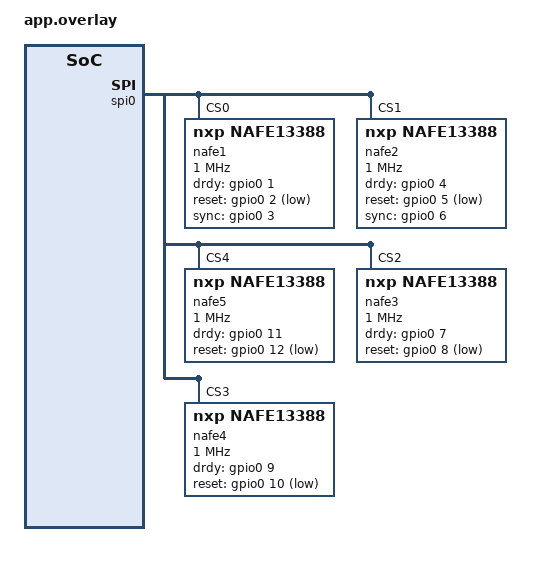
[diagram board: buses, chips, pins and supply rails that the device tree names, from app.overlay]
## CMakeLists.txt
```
# Copyright 2026 NXP
# SPDX-License-Identifier: Apache-2.0

cmake_minimum_required(VERSION 3.20.0)
find_package(Zephyr REQUIRED HINTS $ENV{ZEPHYR_BASE})
project(adc_nafe13388)

FILE(GLOB app_sources src/*.c)
target_sources(app PRIVATE ${app_sources})
```

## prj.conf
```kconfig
# Copyright 2026 NXP
# SPDX-License-Identifier: Apache-2.0

CONFIG_ZTEST=y
CONFIG_EMUL=y
CONFIG_SPI=y
CONFIG_GPIO=y
CONFIG_ADC=y
CONFIG_THREAD_NAME=y
CONFIG_THREAD_MONITOR=y

# Short timeouts so that the timeout tests are fast. native_sim has a tick of 10 ms,
# so a sleep of 1 ms in a test lasts 10 ms; both timeouts have to be a few ticks. The wait
# for CHIP_READY is a deadline in milliseconds, not a number of polls, so with 100 ms the
# driver polls about 10 times on native_sim.
CONFIG_ADC_NAFE13388_DRDY_TIMEOUT_MS=50
CONFIG_ADC_NAFE13388_CHIP_READY_TIMEOUT_MS=100
```

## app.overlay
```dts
/*
 * Copyright 2026 NXP
 *
 * SPDX-License-Identifier: Apache-2.0
 */

#include <zephyr/dt-bindings/adc/adc.h>
#include <zephyr/dt-bindings/adc/nafe13388.h>

/*
 * Four devices on the SPI emulation bus. nafe1 is initialised at boot and used
 * by most tests. The deferred ones are initialised by the init tests, once each,
 * to check the init sequence and its error paths.
 */
&spi0 {
	nafe1: nafe13388@0 {
		compatible = "nxp,nafe13388";
		reg = <0>;
		nxp,dev-addr = <1>;
		spi-max-frequency = <1000000>;
		drdy-gpios = <&gpio0 1 GPIO_ACTIVE_HIGH>;
		reset-gpios = <&gpio0 2 GPIO_ACTIVE_LOW>;
		sync-gpios = <&gpio0 3 GPIO_ACTIVE_HIGH>;
		#address-cells = <1>;
		#size-cells = <0>;
		#io-channel-cells = <1>;

		channel@0 {
			reg = <0>;
			zephyr,gain = "ADC_GAIN_1";
			zephyr,reference = "ADC_REF_INTERNAL";
			zephyr,acquisition-time = <ADC_ACQ_TIME_DEFAULT>;
			zephyr,resolution = <24>;
			zephyr,differential;
			zephyr,input-positive = <NAFE13388_HV_AI1>;
			zephyr,input-negative = <NAFE13388_HV_AICOM>;
		};

		channel@1 {
			reg = <1>;
			zephyr,gain = "ADC_GAIN_1";
			zephyr,reference = "ADC_REF_INTERNAL";
			zephyr,acquisition-time = <ADC_ACQ_TIME_DEFAULT>;
			zephyr,resolution = <16>;
			zephyr,differential;
			zephyr,input-positive = <NAFE13388_HV_AI2>;
			zephyr,input-negative = <NAFE13388_HV_AICOM>;
		};
	};

	nafe2: nafe13388@1 {
		compatible = "nxp,nafe13388";
		reg = <1>;
		spi-max-frequency = <1000000>;
		zephyr,deferred-init;
		nxp,dev-addr = <0>;
		nxp,clock-source = <NAFE13388_CLK_EXTERNAL>;
		nxp,reference-select = <2>;
		nxp,drdy-wide-pulse;
		drdy-gpios = <&gpio0 4 GPIO_ACTIVE_HIGH>;
		reset-gpios = <&gpio0 5 GPIO_ACTIVE_LOW>;
		sync-gpios = <&gpio0 6 GPIO_ACTIVE_HIGH>;
		#address-cells = <1>;
		#size-cells = <0>;
		#io-channel-cells = <1>;

		channel@3 {
			reg = <3>;
			zephyr,gain = "ADC_GAIN_2";
			zephyr,reference = "ADC_REF_INTERNAL";
			zephyr,acquisition-time = <ADC_ACQ_TIME(ADC_ACQ_TIME_TICKS, 7)>;
			zephyr,resolution = <24>;
			zephyr,differential;
			zephyr,input-positive = <NAFE13388_HV_AI2>;
			zephyr,input-negative = <NAFE13388_HV_AI3>;
		};
	};

	/* Initialised at boot, no sync-gpios, no channels, nxp,dev-addr left at the default */
	nafe5: nafe13388@4 {
		compatible = "nxp,nafe13388";
		reg = <4>;
		spi-max-frequency = <1000000>;
		drdy-gpios = <&gpio0 11 GPIO_ACTIVE_HIGH>;
		reset-gpios = <&gpio0 12 GPIO_ACTIVE_LOW>;
		#address-cells = <1>;
		#size-cells = <0>;
		#io-channel-cells = <1>;
	};

	nafe3: nafe13388@2 {
		compatible = "nxp,nafe13388";
		reg = <2>;
		nxp,dev-addr = <1>;
		spi-max-frequency = <1000000>;
		zephyr,deferred-init;
		drdy-gpios = <&gpio0 7 GPIO_ACTIVE_HIGH>;
		reset-gpios = <&gpio0 8 GPIO_ACTIVE_LOW>;
		#address-cells = <1>;
		#size-cells = <0>;
		#io-channel-cells = <1>;
	};

	nafe4: nafe13388@3 {
		compatible = "nxp,nafe13388";
		reg = <3>;
		nxp,dev-addr = <1>;
		spi-max-frequency = <1000000>;
		zephyr,deferred-init;
		drdy-gpios = <&gpio0 9 GPIO_ACTIVE_HIGH>;
		reset-gpios = <&gpio0 10 GPIO_ACTIVE_LOW>;
		#address-cells = <1>;
		#size-cells = <0>;
		#io-channel-cells = <1>;
	};
};
```

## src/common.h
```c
/*
 * Copyright 2026 NXP
 *
 * SPDX-License-Identifier: Apache-2.0
 */

#ifndef ZEPHYR_TESTS_DRIVERS_ADC_NAFE13388_COMMON_H_
#define ZEPHYR_TESTS_DRIVERS_ADC_NAFE13388_COMMON_H_

#include <zephyr/device.h>
#include <zephyr/dt-bindings/adc/nafe13388.h>
#include <zephyr/drivers/adc.h>
#include <zephyr/drivers/adc/nafe13388.h>
#include <zephyr/ztest.h>

#include "nafe13388_emul.h"

#define NAFE1 DEVICE_DT_GET(DT_NODELABEL(nafe1))
#define NAFE5 DEVICE_DT_GET(DT_NODELABEL(nafe5)) /* has no sync-gpios */
#define E1    NAFE_EMUL(nafe1)
#define D1    ((struct nafe_emul_data *)E1->data)

/* Frame number idx of the log must hold exactly these transmitted bytes */
#define ZASSERT_FRAME(e, idx, ...)                                                                 \
	do {                                                                                       \
		static const uint8_t exp_[] = {__VA_ARGS__};                                       \
		zassert_true(nafe_emul_frame_is(e, idx, exp_, sizeof(exp_)), "frame %d", (idx));   \
	} while (0)

/*
 * Bring the emulator and the driver of nafe1 into the state after the init
 * (devicetree channels only): defaults, CMD_RESET through the driver, empty log.
 */
static inline void nafe_before(void *unused)
{
	ARG_UNUSED(unused);

	/* A failed test may have left the device taken, give it back first */
	(void)nafe13388_continuous_stop(NAFE1, NAFE13388_STOP_ABORT);
	(void)nafe13388_stop(NAFE1, NAFE13388_STOP_IDLE);

	nafe_emul_defaults(E1);
	zassert_ok(nafe13388_command(NAFE1, NAFE13388_RESET));
	nafe_emul_clear_log(E1);
}

/* adc_read() of the channels, 24 or 16 bit, into buf */
static inline int nafe_read(uint32_t channels, uint8_t resolution, void *buf, size_t size,
			    const struct adc_sequence_options *opts)
{
	const struct adc_sequence seq = {
		.options = opts,
		.channels = channels,
		.buffer = buf,
		.buffer_size = size,
		.resolution = resolution,
	};

	return adc_read(NAFE1, &seq);
}

static inline struct nafe13388_seq nafe_seq(uint16_t channels, enum nafe13388_mode mode,
					    uint8_t resolution)
{
	struct nafe13388_seq seq = {
		.channels = channels,
		.mode = mode,
		.resolution = resolution,
	};

	return seq;
}

/* The device is free: stop() has nothing to stop and sends no frame */
#define ZASSERT_IDLE()                                                                             \
	zassert_equal(nafe13388_stop(NAFE1, NAFE13388_STOP_IDLE), -EALREADY, "device is taken")

/*
 * Let the acquisition thread of the driver run until it waits for DRDY. The test
 * thread is cooperative, so the driver thread runs only while the test thread sleeps
 * or waits. A DRDY pulse sent before the thread waits would count as a late one.
 * One sleep lasts up to one tick (10 ms on native_sim), see the DRDY timeout in
 * prj.conf.
 */
#define NAFE_SETTLE() k_msleep(1)

/* Wait until a continuous reading has ended and the device is free again */
static inline void nafe_wait_idle(void)
{
	for (int i = 0; i < 100; i++) {
		if (nafe13388_stop(NAFE1, NAFE13388_STOP_IDLE) == -EALREADY) {
			return;
		}
		k_msleep(1);
	}

	zassert_unreachable("the device is still taken");
}

/* No protocol error of the driver may have been seen by the emulator */
static inline void nafe_after(void *unused)
{
	ARG_UNUSED(unused);

	zassert_equal(D1->errors, 0, "the emulator saw %u protocol errors", D1->errors);
}

#endif /* ZEPHYR_TESTS_DRIVERS_ADC_NAFE13388_COMMON_H_ */
```

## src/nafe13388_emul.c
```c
/*
 * Copyright 2026 NXP
 *
 * SPDX-License-Identifier: Apache-2.0
 */

/*
 * Emulator of the NXP NAFE13388 analog front-end, see nafe13388_emul.h.
 *
 * Written from the data sheet (Rev. 5.0) and independent of the driver. Where
 * the data sheet does not settle the behaviour of the chip, the emulator makes
 * an ASSUMPTION. These are the assumptions (a passing test only proves that the
 * driver agrees with them, not that the chip behaves like this):
 *  - A command word is DEV_AD (bit 15), a 14 bit field (RW_L and 13 address
 *    bits) and bit 0 = 0. Fields with RW_L = 1 and an address of 0x00..0x05 are
 *    the conversion commands (Table 25), the others are register reads.
 *  - The chip accepts nothing but SYS_STATUS0 reads and CMD_RESET while
 *    CHIP_READY is 0 (the data sheet only says CHIP_READY is high when the chip
 *    is operational). CHIP_READY also drops after CMD_CLEAR_REG and CMD_RELOAD
 *    (the data sheet only says so for CMD_RELOAD).
 *  - After a reset the first SYS_STATUS0 reads can return 0xffff (reset_ones, default 0).
 *    Whether this is a not yet ready chip or a stuck bus is not known. A frame other
 *    than a SYS_STATUS0 read is refused while these reads are left.
 *  - CMD_SS and CMD_SC convert the channel selected by CMD_CHn, CMD_MM and
 *    CMD_MC convert the channels of CH_CONFIG4 (MCH_EN) in index order.
 *  - CMD_MS converts the channel at an internal pointer, which CMD_CHn sets
 *    (the next enabled channel if that one is not enabled) and which moves to
 *    the next channel after every conversion. DRDY follows SYS_CONFIG0.DRDY_PIN_EDGE
 *    (data sheet Figure 28): 0 = a DRDY after every CMD_MS, 1 = a DRDY only after
 *    the last enabled channel.
 *  - CMD_END lets the running continuous mode finish: SYS_STATUS0 shows the active bit for
 *    end_busy_reads more reads (default 0). CMD_ABORT clears it at once. How long the
 *    real chip needs is not known.
 *  - CMD_SC and CMD_MC only select the mode, the test calls nafe_emul_tick()
 *    for every conversion round. CMD_END stops without another DRDY.
 *  - A CH_DATAn register can be read with a 4 byte frame; it returns the upper 16 bit of the
 *    24 bit code in both output modes (the data sheet does not say it). A 5 byte frame
 *    always returns the 24 bit code, also in the 16 bit mode.
 *  - CMD_BURST_DATA returns the enabled channels in index order, 3 bytes each,
 *    or 2 bytes each (the upper 16 bit of the 24 bit code) with
 *    ADC_DATA_OUT_16BIT. CH_DATAn itself always holds the 24 bit code.
 *  - With ADC_SYNC = 1 a conversion command only arms the mode and the rising
 *    edge of the SYNC pin starts it.
 *  - Data registers (CH_DATAn) are left alone by CMD_RESET, RSTB, CMD_CLEAR_REG and
 *    CMD_RELOAD. CMD_RESET, RSTB and CMD_CLEAR_REG clear the thresholds
 *    (0x50..0x6F, an assumption); CMD_CLEAR_REG also sets
 *    the gain coefficients (0x80..0x8F) to 0x400000, CMD_RESET, RSTB and CMD_RELOAD
 *    load the factory value 0x404808 (an assumption). CMD_CLEAR_REG keeps CK_SRC_SEL.
 *  - CRC and the status byte are not emulated; enabling them is an error.
 *  - A write to CH_CONFIG0 with HV_SEL = 0 must carry HV_AIP = HV_AIN = 9 + LVSIG_IN
 *    (Table 6), else it is an error.
 */

#define DT_DRV_COMPAT nxp_nafe13388

#include <errno.h>
#include <limits.h>
#include <string.h>

#include <zephyr/device.h>
#include <zephyr/drivers/emul.h>
#include <zephyr/drivers/gpio.h>
#include <zephyr/drivers/gpio/gpio_emul.h>
#include <zephyr/drivers/spi.h>
#include <zephyr/drivers/spi_emul.h>
#include <zephyr/kernel.h>
#include <zephyr/sys/byteorder.h>
#include <zephyr/sys/printk.h>
#include <zephyr/sys/util.h>

#include "nafe13388_emul.h"

struct nafe_emul_cfg {
	struct gpio_dt_spec drdy;
	struct gpio_dt_spec reset;
	struct gpio_dt_spec sync;
	uint8_t dev_addr;
};

/* Reading modes, in the order of the command codes 0x2000..0x2004 */
enum nafe_emul_mode {
	MODE_SS,
	MODE_SC,
	MODE_MM,
	MODE_MC,
	MODE_MS,
};

/* Instruction commands (Tables 23 to 25) */
#define CMD_ABORT       0x10U
#define CMD_END         0x11U
#define CMD_CLEAR_ALARM 0x12U
#define CMD_CLEAR_DATA  0x13U
#define CMD_RESET       0x14U
#define CMD_CLEAR_REG   0x15U
#define CMD_RELOAD      0x16U
#define CMD_BURST_DATA  0x05U /* with RW_L = 1, like CMD_SS = 0x00 ... CMD_MS = 0x04 */

/* Registers */
#define REG_CH_CONFIG0             0x20U
#define REG_CH_CONFIG4             0x24U
#define REG_SYS_CONFIG0            0x30U
#define REG_SYS_STATUS0            0x31U
#define REG_GLOBAL_ALARM_INTERRUPT 0x33U
#define REG_PN2                    0x7CU
#define REG_PN1                    0x7DU
#define REG_PN0                    0x7EU
#define REG_CH_DATA0               0x40U
#define REG_SERIAL1                0xAEU
#define REG_SERIAL0                0xAFU

#define SYS_CONFIG0_16BIT     BIT(14)
#define SYS_CONFIG0_CK_SRC    GENMASK(9, 8)
#define SYS_CONFIG0_CRC_EN    BIT(7)
#define SYS_CONFIG0_STATUS_EN BIT(6)
#define SYS_CONFIG0_ADC_SYNC  BIT(5)
#define SYS_CONFIG0_DRDY_EDGE BIT(4)
#define CH_CONFIG0_HV_SEL     BIT(4)

#define SYS_STATUS0_SINGLE_ACTIVE BIT(15)
#define SYS_STATUS0_MULTI_ACTIVE  BIT(14)
#define SYS_STATUS0_CHIP_READY    BIT(13)

static int nafe_emul_bad(struct nafe_emul_data *d, const char *msg)
{
	d->errors++;
	printk("nafe13388_emul: protocol error: %s\n", msg);

	return -EIO;
}

static bool reg16_valid(unsigned int a)
{
	return (a >= 0x20U && a <= 0x37U && a != 0x28U) || (a >= 0x7CU && a <= 0x7FU);
}

static bool reg24_valid(unsigned int a)
{
	return (a >= 0x40U && a <= 0x6FU) || (a >= 0x80U && a <= 0xAFU);
}

#define REG_THRS_FIRST 0x50U
#define REG_THRS_LAST  0x6FU
#define REG_GAIN_COEF0 0x80U
#define GAIN_COEFS     16U
#define GAIN_FACTORY   0x404808U
#define GAIN_CLEARED   0x400000U

static void nafe_emul_load_coefs(struct nafe_emul_data *d, uint32_t val)
{
	for (unsigned int i = 0; i < GAIN_COEFS; i++) {
		d->reg24[REG_GAIN_COEF0 + i] = val;
	}
}

static void nafe_emul_chip_reset(struct nafe_emul_data *d)
{
	for (unsigned int a = REG_THRS_FIRST; a <= REG_THRS_LAST; a++) {
		d->reg24[a] = 0;
	}
	nafe_emul_load_coefs(d, GAIN_FACTORY);
	memset(d->ch, 0, sizeof(d->ch));
	memset(d->reg16, 0, sizeof(d->reg16));
	d->mch_en = 0;
	d->sys_config0 = 0;
	d->cfg_ptr = 0;
	d->ms_next = 0;
	d->ms_last = 0;
	d->cont_mode = -1;
	d->end_mode = -1;
	d->end_reads = 0;
	d->sync_armed = false;
	d->not_ready_reads = (d->reset_not_ready < 0) ? INT_MAX : d->reset_not_ready;
	d->ones_reads = (d->reset_ones < 0) ? INT_MAX : d->reset_ones;
}

static void nafe_emul_log_frame(struct nafe_emul_data *d, const uint8_t *tx, size_t len)
{
	if (d->n_frames < NAFE_EMUL_LOG_DEPTH) {
		struct nafe_emul_frame *f = &d->log[d->n_frames];

		f->len = MIN(len, (size_t)NAFE_EMUL_FRAME_MAX);
		memcpy(f->tx, tx, f->len);
	}
	d->n_frames++;
}

void nafe_emul_clear_log(const struct emul *e)
{
	struct nafe_emul_data *d = e->data;

	d->n_frames = 0;
	d->pulses = 0;
	d->convs = 0;
	d->conv_cmds = 0;
	d->aborts = 0;
	d->ends = 0;
	d->sync_edges = 0;
	d->status_reads = 0;
	d->ro_writes = 0;
}

unsigned int nafe_emul_frame_count(const struct emul *e)
{
	const struct nafe_emul_data *d = e->data;

	return d->n_frames;
}

bool nafe_emul_frame_is(const struct emul *e, unsigned int idx, const uint8_t *exp, size_t len)
{
	const struct nafe_emul_data *d = e->data;
	const struct nafe_emul_frame *f;

	if (idx >= MIN(d->n_frames, (unsigned int)NAFE_EMUL_LOG_DEPTH)) {
		printk("frame %u does not exist (%u frames)\n", idx, d->n_frames);
		return false;
	}

	f = &d->log[idx];
	if (f->len == len && memcmp(f->tx, exp, len) == 0) {
		return true;
	}

	printk("frame %u differs, got:", idx);
	for (size_t i = 0; i < f->len; i++) {
		printk(" %02x", f->tx[i]);
	}
	printk("  expected:");
	for (size_t i = 0; i < len; i++) {
		printk(" %02x", exp[i]);
	}
	printk("\n");

	return false;
}

void nafe_emul_pulse_drdy(const struct emul *e)
{
	const struct nafe_emul_cfg *cfg = e->cfg;
	struct nafe_emul_data *d = e->data;

	d->pulses++;
	(void)gpio_emul_input_set(cfg->drdy.port, cfg->drdy.pin, 1);
	(void)gpio_emul_input_set(cfg->drdy.port, cfg->drdy.pin, 0);
}

void nafe_emul_defaults(const struct emul *e)
{
	struct nafe_emul_data *d = e->data;

	d->reset_not_ready = 0;
	d->reset_ones = 0;
	d->end_busy_reads = 0;
	d->auto_drdy = true;
	d->fail_countdown = 0;
	d->conv_sem = NULL;
	for (unsigned int ch = 0; ch < NAFE_EMUL_CHANNELS; ch++) {
		d->code[ch] = 0x10000 * (int32_t)(ch + 1);
	}

	d->pn2 = 0x1338;
	d->pn1 = 0x8B40;
	d->pn0 = 0x0001;
	memset(d->reg24, 0, sizeof(d->reg24));
	d->reg24[REG_SERIAL1] = 0x00A5A5U;
	d->reg24[REG_SERIAL0] = 0x5A5A5AU;

	nafe_emul_chip_reset(d);
	d->errors = 0;
	d->resets = 0;
	nafe_emul_clear_log(e);
}

static int nafe_emul_next_enabled(const struct nafe_emul_data *d, unsigned int from)
{
	for (unsigned int i = 0; i < NAFE_EMUL_CHANNELS; i++) {
		unsigned int ch = (from + i) % NAFE_EMUL_CHANNELS;

		if ((d->mch_en & BIT(ch)) != 0U) {
			return ch;
		}
	}

	return -1;
}

static void nafe_emul_convert(struct nafe_emul_data *d, unsigned int ch)
{
	d->reg24[REG_CH_DATA0 + ch] = (uint32_t)d->code[ch] & 0xFFFFFFU;
	d->ms_last = ch;
	d->convs++;
}

/* A conversion round of the enabled channels, with the DRDY pulses of DRDY_PIN_EDGE */
static void nafe_emul_multi_round(const struct emul *e)
{
	struct nafe_emul_data *d = e->data;
	const bool per_channel = (d->sys_config0 & SYS_CONFIG0_DRDY_EDGE) == 0U;

	for (unsigned int ch = 0; ch < NAFE_EMUL_CHANNELS; ch++) {
		if ((d->mch_en & BIT(ch)) == 0U) {
			continue;
		}
		nafe_emul_convert(d, ch);
		if (per_channel) {
			nafe_emul_pulse_drdy(e);
		}
	}
	if (!per_channel) {
		nafe_emul_pulse_drdy(e);
	}
}

/* Start a reading mode. Returns an error code for a state the data sheet leaves open. */
static int nafe_emul_run_mode(const struct emul *e, enum nafe_emul_mode mode)
{
	struct nafe_emul_data *d = e->data;
	int ch;

	d->cont_mode = -1;

	switch (mode) {
	case MODE_SS:
		nafe_emul_convert(d, d->cfg_ptr);
		if (d->auto_drdy) {
			nafe_emul_pulse_drdy(e);
		}
		break;
	case MODE_SC:
		d->cont_mode = MODE_SC;
		d->cont_ch = d->cfg_ptr;
		break;
	case MODE_MM:
		if (d->mch_en == 0U) {
			return nafe_emul_bad(d, "CMD_MM with MCH_EN = 0");
		}
		if (d->auto_drdy) {
			nafe_emul_multi_round(e);
		} else {
			for (unsigned int i = 0; i < NAFE_EMUL_CHANNELS; i++) {
				if ((d->mch_en & BIT(i)) != 0U) {
					nafe_emul_convert(d, i);
				}
			}
		}
		break;
	case MODE_MC:
		if (d->mch_en == 0U) {
			return nafe_emul_bad(d, "CMD_MC with MCH_EN = 0");
		}
		d->cont_mode = MODE_MC;
		break;
	case MODE_MS:
		ch = nafe_emul_next_enabled(d, d->ms_next);
		if (ch < 0) {
			return nafe_emul_bad(d, "CMD_MS with MCH_EN = 0");
		}
		nafe_emul_convert(d, ch);
		d->ms_next = (ch + 1) % NAFE_EMUL_CHANNELS;
		if (d->auto_drdy && ((d->sys_config0 & SYS_CONFIG0_DRDY_EDGE) == 0U ||
				     (d->mch_en >> (ch + 1)) == 0U)) {
			nafe_emul_pulse_drdy(e);
		}
		break;
	}

	if (d->conv_sem != NULL) {
		k_sem_give(d->conv_sem);
	}

	return 0;
}

int nafe_emul_tick(const struct emul *e)
{
	struct nafe_emul_data *d = e->data;

	if (d->cont_mode == MODE_SC) {
		nafe_emul_convert(d, d->cont_ch);
		nafe_emul_pulse_drdy(e);
	} else if (d->cont_mode == MODE_MC) {
		nafe_emul_multi_round(e);
	} else {
		return -EINVAL;
	}

	return 0;
}

static int nafe_emul_conv_cmd(const struct emul *e, enum nafe_emul_mode mode)
{
	struct nafe_emul_data *d = e->data;

	d->conv_cmds++;

	if ((d->sys_config0 & SYS_CONFIG0_ADC_SYNC) != 0U) {
		d->sync_armed = true;
		d->sync_mode = mode;
		d->cont_mode = -1;
		return 0;
	}

	d->sync_armed = false;

	return nafe_emul_run_mode(e, mode);
}

static int nafe_emul_instruction(const struct emul *e, unsigned int cmd)
{
	struct nafe_emul_data *d = e->data;
	uint16_t keep;

	switch (cmd) {
	case CMD_ABORT:
		d->aborts++;
		d->end_mode = -1;
		d->cont_mode = -1;
		d->sync_armed = false;
		break;
	case CMD_END:
		d->ends++;
		d->end_mode = d->cont_mode;
		d->end_reads = (d->end_busy_reads < 0) ? INT_MAX : d->end_busy_reads;
		d->cont_mode = -1;
		d->sync_armed = false;
		break;
	case CMD_CLEAR_ALARM:
		d->reg16[REG_GLOBAL_ALARM_INTERRUPT] = 0;
		break;
	case CMD_CLEAR_DATA:
		memset(&d->reg24[REG_CH_DATA0], 0, NAFE_EMUL_CHANNELS * sizeof(d->reg24[0]));
		break;
	case CMD_RESET:
		nafe_emul_chip_reset(d);
		break;
	case CMD_CLEAR_REG:
		keep = d->sys_config0 & SYS_CONFIG0_CK_SRC;
		nafe_emul_chip_reset(d);
		nafe_emul_load_coefs(d, GAIN_CLEARED);
		d->sys_config0 = keep;
		break;
	case CMD_RELOAD:
		nafe_emul_load_coefs(d, GAIN_FACTORY);
		d->not_ready_reads = (d->reset_not_ready < 0) ? INT_MAX : d->reset_not_ready;
		break;
	default:
		return nafe_emul_bad(d, "undefined instruction command");
	}

	return 0;
}

static uint16_t nafe_emul_read16(struct nafe_emul_data *d, unsigned int a)
{
	uint16_t v;
	int mode;

	switch (a) {
	case REG_CH_CONFIG0 ...(REG_CH_CONFIG0 + 3):
		return d->ch[d->cfg_ptr][a - REG_CH_CONFIG0];
	case REG_CH_CONFIG4:
		return d->mch_en;
	case REG_SYS_CONFIG0:
		return d->sys_config0;
	case REG_SYS_STATUS0:
		d->status_reads++;
		if (d->ones_reads > 0) {
			d->ones_reads--;
			return 0xFFFF;
		}
		v = (d->cfg_ptr << 8) | (d->ms_last << 4);
		if (d->not_ready_reads == 0) {
			v |= SYS_STATUS0_CHIP_READY;
		} else {
			d->not_ready_reads--;
		}
		mode = d->cont_mode;
		if (mode < 0 && d->end_mode >= 0 && d->end_reads > 0) {
			mode = d->end_mode;
			d->end_reads--;
		}
		if (mode == MODE_SC) {
			v |= SYS_STATUS0_SINGLE_ACTIVE;
		} else if (mode == MODE_MC) {
			v |= SYS_STATUS0_MULTI_ACTIVE;
		}
		return v;
	case REG_PN2:
		return d->pn2;
	case REG_PN1:
		return d->pn1;
	case REG_PN0:
		return d->pn0;
	default:
		return d->reg16[a];
	}
}

static int nafe_emul_write16(struct nafe_emul_data *d, unsigned int a, uint16_t v)
{
	switch (a) {
	case REG_CH_CONFIG0 ...(REG_CH_CONFIG0 + 3):
		if (a == REG_CH_CONFIG0 && (v & CH_CONFIG0_HV_SEL) == 0U) {
			unsigned int pair = 9U + ((v >> 1) & 0x7U);

			if (((v >> 12) & 0xFU) != pair || ((v >> 8) & 0xFU) != pair) {
				return nafe_emul_bad(d, "LV signal without Table 6 pair");
			}
		}
		d->ch[d->cfg_ptr][a - REG_CH_CONFIG0] = v;
		break;
	case REG_CH_CONFIG4:
		d->mch_en = v;
		break;
	case REG_SYS_CONFIG0:
		if ((v & (SYS_CONFIG0_CRC_EN | SYS_CONFIG0_STATUS_EN)) != 0U) {
			return nafe_emul_bad(d, "CRC or status byte enabled, not emulated");
		}
		d->sys_config0 = v;
		break;
	case REG_SYS_STATUS0:
	case 0x34 ... 0x36: /* DIE_TEMP, CH_STATUS0, CH_STATUS1 */
	case REG_PN2:
	case REG_PN1:
	case REG_PN0:
		d->ro_writes++;
		break;
	default:
		d->reg16[a] = v;
		break;
	}

	return 0;
}

static int nafe_emul_register(const struct emul *e, const struct spi_config *config, unsigned int a,
			      bool read, const uint8_t *tx, uint8_t *rx, size_t len)
{
	struct nafe_emul_data *d = e->data;

	ARG_UNUSED(config);

	if (reg16_valid(a)) {
		if (len != 4U) {
			return nafe_emul_bad(d, "16 bit register frame is not 4 bytes");
		}
		if (read) {
			if (rx == NULL) {
				return nafe_emul_bad(d, "register read without receive buffer");
			}
			sys_put_be16(nafe_emul_read16(d, a), &rx[2]);
			return 0;
		}
		return nafe_emul_write16(d, a, sys_get_be16(&tx[2]));
	}

	if (reg24_valid(a)) {
		if (read && len == 4U && a >= REG_CH_DATA0 &&
		    a < REG_CH_DATA0 + NAFE_EMUL_CHANNELS) {
			if (rx == NULL) {
				return nafe_emul_bad(d, "register read without receive buffer");
			}
			sys_put_be16((d->reg24[a] >> 8) & 0xFFFFU, &rx[2]);
			return 0;
		}
		if (len != 5U) {
			return nafe_emul_bad(d, "24 bit register frame is not 5 bytes");
		}
		if (read) {
			if (rx == NULL) {
				return nafe_emul_bad(d, "register read without receive buffer");
			}
			sys_put_be24(d->reg24[a], &rx[2]);
			return 0;
		}
		if ((a >= REG_CH_DATA0 && a < REG_CH_DATA0 + NAFE_EMUL_CHANNELS) ||
		    a == REG_SERIAL1 || a == REG_SERIAL0) {
			d->ro_writes++;
		} else {
			d->reg24[a] = sys_get_be24(&tx[2]);
		}
		return 0;
	}

	return nafe_emul_bad(d, "access to an unknown register address");
}

static int nafe_emul_burst(struct nafe_emul_data *d, uint8_t *rx, size_t len)
{
	const bool wire_16 = (d->sys_config0 & SYS_CONFIG0_16BIT) != 0U;
	const size_t w = wire_16 ? 2U : 3U;
	size_t pos = 2;

	if (d->mch_en == 0U) {
		return nafe_emul_bad(d, "CMD_BURST_DATA with MCH_EN = 0");
	}
	if (len != 2U + POPCOUNT(d->mch_en) * w) {
		return nafe_emul_bad(d, "CMD_BURST_DATA frame length does not match MCH_EN");
	}
	if (rx == NULL) {
		return nafe_emul_bad(d, "CMD_BURST_DATA without receive buffer");
	}

	for (unsigned int ch = 0; ch < NAFE_EMUL_CHANNELS; ch++) {
		if ((d->mch_en & BIT(ch)) == 0U) {
			continue;
		}
		if (wire_16) {
			sys_put_be16((d->reg24[REG_CH_DATA0 + ch] >> 8) & 0xFFFFU, &rx[pos]);
		} else {
			sys_put_be24(d->reg24[REG_CH_DATA0 + ch], &rx[pos]);
		}
		pos += w;
	}

	return 0;
}

static int nafe_emul_io(const struct emul *target, const struct spi_config *config,
			const struct spi_buf_set *tx_bufs, const struct spi_buf_set *rx_bufs)
{
	const struct nafe_emul_cfg *cfg = target->cfg;
	struct nafe_emul_data *d = target->data;
	const uint8_t *tx;
	uint8_t *rx = NULL;
	size_t len;
	uint16_t word;
	unsigned int a;
	bool read;

	if (tx_bufs == NULL || tx_bufs->count != 1U) {
		return nafe_emul_bad(d, "a transfer is not exactly one transmit buffer");
	}
	tx = tx_bufs->buffers[0].buf;
	len = tx_bufs->buffers[0].len;
	if (rx_bufs != NULL) {
		if (rx_bufs->count != 1U || rx_bufs->buffers[0].len != len) {
			return nafe_emul_bad(d, "receive buffer differs from transmit buffer");
		}
		rx = rx_bufs->buffers[0].buf;
		memset(rx, 0, len);
	}

	if (tx == NULL || len < 2U) {
		return nafe_emul_bad(d, "frame shorter than a command word");
	}

	nafe_emul_log_frame(d, tx, len);

	if (d->fail_countdown > 0 && --d->fail_countdown == 0) {
		return -EIO;
	}

	/* One transfer is one chip select frame: SPI mode 1, MSB first, 8 bit, no CS hold */
	if (SPI_OP_MODE_GET(config->operation) != SPI_OP_MODE_CONTROLLER ||
	    (config->operation & (SPI_MODE_CPOL | SPI_MODE_CPHA | SPI_TRANSFER_LSB | SPI_MODE_LOOP |
				  SPI_HOLD_ON_CS | SPI_LOCK_ON)) != SPI_MODE_CPHA ||
	    SPI_WORD_SIZE_GET(config->operation) != 8U) {
		return nafe_emul_bad(d, "SPI config is not mode 1, MSB first, 8 bit");
	}

	if (d->in_reset) {
		return nafe_emul_bad(d, "frame while RSTB is low");
	}

	word = sys_get_be16(tx);
	if (((word >> 15) & 1U) != cfg->dev_addr) {
		return nafe_emul_bad(d, "device address bit does not match SPI_ADDR");
	}
	if ((word & 1U) != 0U) {
		return nafe_emul_bad(d, "bit 0 of the command word is set");
	}

	read = (word & BIT(14)) != 0U;
	a = (word >> 1) & 0x1FFFU;

	if ((d->not_ready_reads != 0 || d->ones_reads != 0) && !(read && a == REG_SYS_STATUS0) &&
	    !(!read && a == CMD_RESET)) {
		return nafe_emul_bad(d, "frame before CHIP_READY");
	}

	if (!read && a < 0x20U) {
		/* CMD_CHn (0x00..0x0F) and the instruction commands (0x10..0x16) */
		if (len != 2U) {
			return nafe_emul_bad(d, "instruction command frame is not 2 bytes");
		}
		if (a < 0x10U) {
			d->cfg_ptr = a;
			d->ms_next = a;
			return 0;
		}
		return nafe_emul_instruction(target, a);
	}

	if (read && a <= CMD_BURST_DATA) {
		if (a == CMD_BURST_DATA) {
			return nafe_emul_burst(d, rx, len);
		}
		if (len != 2U) {
			return nafe_emul_bad(d, "conversion command frame is not 2 bytes");
		}
		return nafe_emul_conv_cmd(target, (enum nafe_emul_mode)a);
	}

	if (a < 0x20U) {
		return nafe_emul_bad(d, "undefined command");
	}

	return nafe_emul_register(target, config, a, read, tx, rx, len);
}

static void nafe_emul_rstb_cb(const struct device *port, struct gpio_callback *cb, uint32_t pins)
{
	struct nafe_emul_data *d = CONTAINER_OF(cb, struct nafe_emul_data, rstb_cb);
	const struct nafe_emul_cfg *cfg = d->self->cfg;
	const bool high = gpio_emul_output_get(cfg->reset.port, cfg->reset.pin) != 0;

	ARG_UNUSED(port);
	ARG_UNUSED(pins);

	if (!high && !d->in_reset) {
		d->in_reset = true;
		d->rstb_fall = k_cycle_get_32();
	} else if (high && d->in_reset) {
		d->in_reset = false;
		d->rstb_low_us = k_cyc_to_us_floor32(k_cycle_get_32() - d->rstb_fall);
		d->resets++;
		nafe_emul_chip_reset(d);
	}
}

static void nafe_emul_sync_cb(const struct device *port, struct gpio_callback *cb, uint32_t pins)
{
	struct nafe_emul_data *d = CONTAINER_OF(cb, struct nafe_emul_data, sync_cb);
	const struct nafe_emul_cfg *cfg = d->self->cfg;
	const bool high = gpio_emul_output_get(cfg->sync.port, cfg->sync.pin) != 0;

	ARG_UNUSED(port);
	ARG_UNUSED(pins);

	if (high && !d->sync_level) {
		d->sync_edges++;
		if (d->sync_armed) {
			(void)nafe_emul_run_mode(d->self, d->sync_mode);
		}
	}
	d->sync_level = high;
}

static int nafe_emul_init(const struct emul *target, const struct device *parent)
{
	const struct nafe_emul_cfg *cfg = target->cfg;
	struct nafe_emul_data *d = target->data;

	ARG_UNUSED(parent);

	d->self = target;
	nafe_emul_defaults(target);

	gpio_init_callback(&d->rstb_cb, nafe_emul_rstb_cb, BIT(cfg->reset.pin));
	(void)gpio_add_callback(cfg->reset.port, &d->rstb_cb);

	if (cfg->sync.port != NULL) {
		gpio_init_callback(&d->sync_cb, nafe_emul_sync_cb, BIT(cfg->sync.pin));
		(void)gpio_add_callback(cfg->sync.port, &d->sync_cb);
	}

	return 0;
}

static const struct spi_emul_api nafe_emul_api = {
	.io = nafe_emul_io,
};

#define NAFE_EMUL_INIT(n)                                                                          \
	static struct nafe_emul_data nafe_emul_data_##n;                                           \
	static const struct nafe_emul_cfg nafe_emul_cfg_##n = {                                    \
		.drdy = GPIO_DT_SPEC_INST_GET(n, drdy_gpios),                                      \
		.reset = GPIO_DT_SPEC_INST_GET(n, reset_gpios),                                    \
		.sync = GPIO_DT_SPEC_INST_GET_OR(n, sync_gpios, {0}),                              \
		.dev_addr = DT_INST_PROP(n, nxp_dev_addr),                                         \
	};                                                                                         \
	EMUL_DT_INST_DEFINE(n, nafe_emul_init, &nafe_emul_data_##n, &nafe_emul_cfg_##n,            \
			    &nafe_emul_api, NULL)

DT_INST_FOREACH_STATUS_OKAY(NAFE_EMUL_INIT)
```

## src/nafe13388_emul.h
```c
/*
 * Copyright 2026 NXP
 *
 * SPDX-License-Identifier: Apache-2.0
 */

/*
 * Emulator of the NXP NAFE13388 analog front-end on a SPI emulation bus.
 *
 * The emulator is written from the data sheet (Rev. 5.0), not from the driver,
 * so that a passing test shows that the driver matches this reading of the
 * data sheet. It does NOT show that the chip behaves like this. Assumptions
 * that the data sheet does not settle are listed in nafe13388_emul.c.
 *
 * The emulator checks every SPI transfer (one transfer = one chip select
 * frame): the SPI mode, the device address bit, the frame length for the
 * command, the chip state. A violation increments "errors" and the transfer
 * fails with -EIO. The tests check that "errors" stays 0.
 */

#ifndef ZEPHYR_TESTS_DRIVERS_ADC_NAFE13388_EMUL_H_
#define ZEPHYR_TESTS_DRIVERS_ADC_NAFE13388_EMUL_H_

#include <stdbool.h>
#include <stddef.h>
#include <stdint.h>

#include <zephyr/device.h>
#include <zephyr/drivers/emul.h>
#include <zephyr/drivers/gpio.h>

struct k_sem;

#define NAFE_EMUL_CHANNELS  16
/* Longest frame: command word and 3 bytes for each of the 16 channels */
#define NAFE_EMUL_FRAME_MAX (2 + 3 * NAFE_EMUL_CHANNELS)
#define NAFE_EMUL_LOG_DEPTH 256

struct nafe_emul_frame {
	uint8_t len;
	uint8_t tx[NAFE_EMUL_FRAME_MAX];
};

struct nafe_emul_data {
	/* Register file */
	uint16_t ch[NAFE_EMUL_CHANNELS][4]; /* CH_CONFIG0..3 of each logical channel */
	uint16_t mch_en;                    /* CH_CONFIG4 */
	uint16_t sys_config0;
	uint16_t reg16[0x80]; /* all other 16 bit registers, index = address */
	uint32_t reg24[0xB0]; /* 24 bit registers (CH_DATAn, coefficients), index = address */
	uint16_t pn2;
	uint16_t pn1;
	uint16_t pn0;

	/* Settings of the test, restored by nafe_emul_defaults() */
	int reset_not_ready; /* SYS_STATUS0 reads with CHIP_READY = 0 after a reset, -1: never */
	int reset_ones;      /* SYS_STATUS0 reads of 0xffff before those, -1: never ends */
	bool auto_drdy;      /* pulse DRDY for CMD_SS, CMD_MM and CMD_MS */
	int32_t code[NAFE_EMUL_CHANNELS]; /* 24 bit result of each channel (sign extended) */
	int end_busy_reads; /* reads of SYS_STATUS0 that show the mode after CMD_END, -1: all */
	int fail_countdown; /* > 0: the transfer with this ordinal (1 = the next) fails with -EIO */
	struct k_sem *conv_sem; /* given after every conversion command, NULL: not used */

	/* Chip state */
	int not_ready_reads;
	int ones_reads;
	bool in_reset;   /* RSTB is low */
	uint8_t cfg_ptr; /* channel selected by CMD_CHn */
	uint8_t ms_next; /* channel that CMD_MS converts next */
	int cont_mode;   /* running continuous mode (0..4 as CMD code), -1 if none */
	int end_mode;    /* mode that CMD_END is finishing, -1 if none */
	int end_reads;   /* SYS_STATUS0 reads left that show it */
	uint8_t cont_ch; /* channel of a running CMD_SC */
	bool sync_armed;
	bool sync_level;
	unsigned int sync_mode;

	/* Observations of the test */
	uint32_t errors;      /* protocol errors, must stay 0 */
	uint32_t resets;      /* rising edges of RSTB */
	uint32_t rstb_low_us; /* length of the last RSTB low pulse */
	uint32_t pulses;      /* DRDY pulses */
	uint32_t convs;       /* converted channels */
	uint32_t conv_cmds;   /* conversion commands received */
	uint32_t aborts;
	uint32_t ends;
	uint32_t sync_edges;
	uint32_t status_reads;
	uint32_t ro_writes; /* writes to registers that are read only */
	unsigned int ms_last;

	/* Frame log */
	unsigned int n_frames;
	struct nafe_emul_frame log[NAFE_EMUL_LOG_DEPTH];

	/* Internal */
	const struct emul *self;
	struct gpio_callback rstb_cb;
	struct gpio_callback sync_cb;
	uint32_t rstb_fall;
};

/* Handle of the emulator of the device with this node label */
#define NAFE_EMUL(label) EMUL_DT_GET(DT_NODELABEL(label))

/* Set the settings of the test to their defaults and clear the log and the counters */
void nafe_emul_defaults(const struct emul *e);

/* Clear the frame log and the counters (not "errors" and "resets") */
void nafe_emul_clear_log(const struct emul *e);

unsigned int nafe_emul_frame_count(const struct emul *e);

/* Compare the transmitted bytes of a logged frame, print both on a mismatch */
bool nafe_emul_frame_is(const struct emul *e, unsigned int idx, const uint8_t *exp, size_t len);

/* One pulse on the DRDY pin */
void nafe_emul_pulse_drdy(const struct emul *e);

/*
 * One conversion round of the running continuous mode (CMD_SC or CMD_MC): update
 * CH_DATAn from "code" and pulse DRDY (once, or once per channel if DRDY_PIN_EDGE
 * is 0). Returns -EINVAL if no continuous mode is running.
 */
int nafe_emul_tick(const struct emul *e);

#endif /* ZEPHYR_TESTS_DRIVERS_ADC_NAFE13388_EMUL_H_ */
```

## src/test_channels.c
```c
/*
 * Copyright 2026 NXP
 *
 * SPDX-License-Identifier: Apache-2.0
 */

/*
 * channel_setup, channel_setup_ext and cfg_rate: the frames that are sent and the
 * register values that arrive. Expected values are computed from the CH_CONFIG0..3
 * bit layout of the data sheet (Table 29), not taken from the driver.
 */

#include <errno.h>

#include "common.h"

ZTEST_SUITE(nafe13388_channels, NULL, NULL, nafe_before, nafe_after, NULL);

static struct adc_channel_cfg base_cfg(uint8_t ch)
{
	struct adc_channel_cfg cfg = {
		.gain = ADC_GAIN_1,
		.reference = ADC_REF_INTERNAL,
		.acquisition_time = ADC_ACQ_TIME_DEFAULT,
		.channel_id = ch,
		.differential = 1,
		.input_positive = 1,
		.input_negative = 7,
	};

	return cfg;
}

/* The channels of the devicetree are set up again by the RESET of the "before" hook */
ZTEST(nafe13388_channels, test_dt_channels_after_reset)
{
	/* The log was cleared after the RESET, so check the registers instead */
	zassert_equal(D1->ch[0][0], 0x1770, "HV_AIP 1, HV_AIN 7, gain 1x, HV_SEL");
	zassert_equal(D1->ch[0][1], 0x0000);
	zassert_equal(D1->ch[1][0], 0x2770, "HV_AIP 2, HV_AIN 7, gain 1x, HV_SEL");
	zassert_equal(D1->ch[2][0], 0x0000, "channel 2 is not in the devicetree");
	zassert_equal(D1->sys_config0, 0x0010, "only DRDY_PIN_EDGE");
	zassert_equal(D1->mch_en, 0);
}

ZTEST(nafe13388_channels, test_channel_setup_differential)
{
	struct adc_channel_cfg cfg = base_cfg(5);

	cfg.gain = ADC_GAIN_4;
	cfg.acquisition_time = ADC_ACQ_TIME(ADC_ACQ_TIME_TICKS, 3);
	cfg.input_positive = 3;
	cfg.input_negative = 4;

	zassert_ok(adc_channel_setup(NAFE1, &cfg));

	zassert_equal(nafe_emul_frame_count(E1), 5);
	ZASSERT_FRAME(E1, 0, 0x80, 0x0A); /* CMD_CH5 */
	/* HV_AIP 3 << 12 | HV_AIN 4 << 8 | gain 4x (code 5) << 5 | HV_SEL = 0x34B0 */
	ZASSERT_FRAME(E1, 1, 0x80, 0x40, 0x34, 0xB0);
	ZASSERT_FRAME(E1, 2, 0x80, 0x42, 0x00, 0x18); /* rate code 3 << 3 */
	ZASSERT_FRAME(E1, 3, 0x80, 0x44, 0x00, 0x00);
	ZASSERT_FRAME(E1, 4, 0x80, 0x46, 0x00, 0x00);
	zassert_equal(D1->ch[5][0], 0x34B0);
	zassert_equal(D1->ch[5][1], 0x0018);
}

/*
 * Single ended HV channels are refused: the code is the same for every input type, so
 * adc_raw_to_millivolts() would give half the voltage.
 */
ZTEST(nafe13388_channels, test_channel_setup_single_ended_refused)
{
	struct adc_channel_cfg cfg = base_cfg(6);

	cfg.differential = 0;
	cfg.input_positive = 2;
	cfg.input_negative = 0;

	zassert_equal(adc_channel_setup(NAFE1, &cfg), -ENOTSUP);
	zassert_equal(nafe_emul_frame_count(E1), 0, "a refused setup sends nothing");

	/* The replacement: differential against the internal ground */
	cfg.differential = 1;
	zassert_ok(adc_channel_setup(NAFE1, &cfg));
	ZASSERT_FRAME(E1, 0, 0x80, 0x0C);             /* CMD_CH6 */
	ZASSERT_FRAME(E1, 1, 0x80, 0x40, 0x20, 0x70); /* HV_AIP 2, HV_AIN 0, 1x, HV_SEL */
}

/* The excitation current source pins go to VIEX_AIP_EN / VIEX_AIN_EN of CH_CONFIG3 */
ZTEST(nafe13388_channels, test_channel_setup_excitation_pins)
{
	struct adc_channel_cfg cfg = base_cfg(7);

	cfg.current_source_pin_set = 1;
	cfg.current_source_pin[0] = 1;
	cfg.current_source_pin[1] = 2;

	zassert_ok(adc_channel_setup(NAFE1, &cfg));

	ZASSERT_FRAME(E1, 4, 0x80, 0x46, 0x00, 0x0A); /* 1 << 3 | 2 */
}

ZTEST(nafe13388_channels, test_channel_setup_errors)
{
	struct adc_channel_cfg cfg;

	cfg = base_cfg(5);
	cfg.gain = ADC_GAIN_3;
	zassert_equal(adc_channel_setup(NAFE1, &cfg), -EINVAL, "gain 3 does not exist");

	cfg = base_cfg(5);
	cfg.reference = ADC_REF_VDD_1;
	zassert_equal(adc_channel_setup(NAFE1, &cfg), -EINVAL, "only the internal reference");

	cfg = base_cfg(5);
	cfg.acquisition_time = ADC_ACQ_TIME(ADC_ACQ_TIME_MICROSECONDS, 5);
	zassert_equal(adc_channel_setup(NAFE1, &cfg), -EINVAL, "only ticks");

	cfg = base_cfg(5);
	cfg.acquisition_time = ADC_ACQ_TIME(ADC_ACQ_TIME_TICKS, NAFE13388_DATA_RATE_CODE_MAX + 1);
	zassert_equal(adc_channel_setup(NAFE1, &cfg), -EINVAL, "rate code 29");

	cfg = base_cfg(16);
	zassert_equal(adc_channel_setup(NAFE1, &cfg), -EINVAL, "channel 16");

	cfg = base_cfg(5);
	cfg.input_positive = 9;
	zassert_equal(adc_channel_setup(NAFE1, &cfg), -EINVAL, "input 9");

	cfg = base_cfg(5);
	cfg.input_negative = 9;
	zassert_equal(adc_channel_setup(NAFE1, &cfg), -EINVAL, "input 9");

	cfg = base_cfg(5);
	cfg.current_source_pin_set = 1;
	cfg.current_source_pin[0] = 5;
	zassert_equal(adc_channel_setup(NAFE1, &cfg), -EINVAL, "excitation pin 5");

	zassert_equal(nafe_emul_frame_count(E1), 0, "a refused setup sends nothing");
}

/* Every field of the extension configuration at a value that shows in the registers */
ZTEST(nafe13388_channels, test_channel_setup_ext_hv)
{
	const struct nafe13388_channel_cfg cfg = {
		.hv_aip = 2,
		.hv_ain = 7,
		.gain_code = 5,
		.lv = false,
		.tcc_off = true,
		.cal_pair = 3,
		.thrs_pair = 1,
		.rate = 9,
		.sinc = 2,
		.delay = 18,
		.normal_settling = true,
		.filter_reset = true,
		.chop = true,
		.viex_current = true,
		.viex_negative = true,
		.viex_mag = 9,
		.vexc_en = true,
		.odc = true,
		.viex_chop = true,
		.viex_aip = 1,
		.viex_ain = 2,
	};

	zassert_ok(nafe13388_channel_setup_ext(NAFE1, 9, &cfg));

	zassert_equal(nafe_emul_frame_count(E1), 5);
	ZASSERT_FRAME(E1, 0, 0x80, 0x12); /* CMD_CH9 */
	/* 2 << 12 | 7 << 8 | 5 << 5 | HV_SEL 0x10 | TCC_OFF 1 */
	ZASSERT_FRAME(E1, 1, 0x80, 0x40, 0x27, 0xB1);
	/* CAL 3 << 12 | THRS 1 << 8 | rate 9 << 3 | sinc 2 */
	ZASSERT_FRAME(E1, 2, 0x80, 0x42, 0x31, 0x4A);
	/* delay 18 << 10 | normal settling 0x200 | filter reset 0x100 | chop 0x80 */
	ZASSERT_FRAME(E1, 3, 0x80, 0x44, 0x4B, 0x80);
	/*
	 * VIEX_VI 0x8000 | VIEX_POL 0x4000 | MAG 9 << 10 | VEXC_EN 0x200 | ODC 0x100 |
	 * VIEX_CHOP 0x40 | AIP_EN 1 << 3 | AIN_EN 2
	 */
	ZASSERT_FRAME(E1, 4, 0x80, 0x46, 0xE7, 0x4A);
}

/*
 * Low voltage input: no HV_SEL, LVSIG_IN set and HV_AIP = HV_AIN = 9 + LVSIG_IN (Table 6).
 * The HV input fields of the configuration are ignored.
 */
ZTEST(nafe13388_channels, test_channel_setup_ext_lv)
{
	const struct nafe13388_channel_cfg cfg = {
		.hv_aip = 15,
		.hv_ain = 15,
		.gain_code = 2,
		.lv = true,
		.lv_signal = NAFE13388_LV_VADD,
	};

	zassert_ok(nafe13388_channel_setup_ext(NAFE1, 10, &cfg));

	ZASSERT_FRAME(E1, 0, 0x80, 0x14);             /* CMD_CH10 */
	ZASSERT_FRAME(E1, 1, 0x80, 0x40, 0xCC, 0x46); /* C/C, gain code 2 << 5 | LVSIG 3 << 1 */
}

/* The example of data sheet 7.3.4: LVSIG_IN 3 at gain code 0 and TCC_OFF = 1 is 0xCC07 */
ZTEST(nafe13388_channels, test_lv_data_sheet_example)
{
	const struct nafe13388_channel_cfg cfg = {
		.gain_code = 0,
		.lv = true,
		.lv_signal = NAFE13388_LV_VADD,
		.tcc_off = true,
	};

	zassert_ok(nafe13388_channel_setup_ext(NAFE1, 11, &cfg));
	zassert_equal(D1->ch[11][0], 0xCC07);
	zassert_equal(D1->errors, 0);
}

/* Every LV signal gets its own pair 9..14, so they select different inputs */
ZTEST(nafe13388_channels, test_lv_pair_per_signal)
{
	static const uint16_t expect[6] = {0x9900, 0xAA02, 0xBB04, 0xCC06, 0xDD08, 0xEE0A};

	/* HV_AIP/HV_AIN | gain code 0 << 5 | LVSIG_IN << 1 */
	for (unsigned int sig = 0; sig <= NAFE13388_LV_VHSS; sig++) {
		struct nafe13388_channel_cfg cfg = {
			.lv = true,
			.lv_signal = sig,
		};

		zassert_ok(nafe13388_channel_setup_ext(NAFE1, 12, &cfg));
		zassert_equal(D1->ch[12][0], expect[sig], "signal %u", sig);
	}
	zassert_equal(D1->errors, 0);
}

ZTEST(nafe13388_channels, test_channel_setup_ext_errors)
{
	struct nafe13388_channel_cfg cfg;

	zassert_equal(nafe13388_channel_setup_ext(NAFE1, 9, NULL), -EINVAL);

	memset(&cfg, 0, sizeof(cfg));
	zassert_equal(nafe13388_channel_setup_ext(NAFE1, 16, &cfg), -EINVAL, "channel 16");

#define EXT_BAD(field, value)                                                                      \
	do {                                                                                       \
		memset(&cfg, 0, sizeof(cfg));                                                      \
		cfg.field = (value);                                                               \
		zassert_equal(nafe13388_channel_setup_ext(NAFE1, 9, &cfg), -EINVAL, #field);       \
	} while (0)

	EXT_BAD(gain_code, 8);
	EXT_BAD(lv_signal, NAFE13388_LV_VHSS + 1);
	EXT_BAD(cal_pair, 16);
	EXT_BAD(thrs_pair, 16);
	EXT_BAD(rate, NAFE13388_DATA_RATE_CODE_MAX + 1);
	EXT_BAD(sinc, NAFE13388_SINC4 + 1);
	EXT_BAD(delay, NAFE13388_CHANNEL_DELAY_CODE_MAX + 1);
	EXT_BAD(viex_mag, 16);
	EXT_BAD(viex_aip, 5);
	EXT_BAD(viex_ain, 5);
	EXT_BAD(hv_aip, 9);
	EXT_BAD(hv_ain, 9);

	zassert_equal(nafe_emul_frame_count(E1), 0, "a refused setup sends nothing");
}

/* cfg_rate writes only the registers whose value changes */
ZTEST(nafe13388_channels, test_cfg_rate_writes_only_on_change)
{
	/* Channel 0 is configured with rate 0, delay 0: nothing to do */
	zassert_ok(nafe13388_cfg_rate(NAFE1, 0, 0, 0));
	zassert_equal(nafe_emul_frame_count(E1), 0);

	/* Rate only: CMD_CH0 and CH_CONFIG1 */
	zassert_ok(nafe13388_cfg_rate(NAFE1, 0, 5, 0));
	zassert_equal(nafe_emul_frame_count(E1), 2);
	ZASSERT_FRAME(E1, 0, 0x80, 0x00);
	ZASSERT_FRAME(E1, 1, 0x80, 0x42, 0x00, 0x28); /* 5 << 3 */

	/* The same again: nothing */
	zassert_ok(nafe13388_cfg_rate(NAFE1, 0, 5, 0));
	zassert_equal(nafe_emul_frame_count(E1), 2);

	/* Delay only: CMD_CH0 and CH_CONFIG2 */
	zassert_ok(nafe13388_cfg_rate(NAFE1, 0, 5, 10));
	zassert_equal(nafe_emul_frame_count(E1), 4);
	ZASSERT_FRAME(E1, 2, 0x80, 0x00);
	ZASSERT_FRAME(E1, 3, 0x80, 0x44, 0x28, 0x00); /* 10 << 10 */

	/* Both on channel 1: CMD_CH1, CH_CONFIG1, CH_CONFIG2 */
	zassert_ok(nafe13388_cfg_rate(NAFE1, 1, 2, 1));
	zassert_equal(nafe_emul_frame_count(E1), 7);
	ZASSERT_FRAME(E1, 4, 0x80, 0x02);
	ZASSERT_FRAME(E1, 5, 0x80, 0x42, 0x00, 0x10);
	ZASSERT_FRAME(E1, 6, 0x80, 0x44, 0x04, 0x00);

	zassert_equal(D1->ch[0][1], 0x0028);
	zassert_equal(D1->ch[0][2], 0x2800);
	zassert_equal(D1->ch[1][1], 0x0010);
	zassert_equal(D1->ch[1][2], 0x0400);
	zassert_equal(D1->ch[1][0], 0x2770, "the other fields of the channel are kept");
}

ZTEST(nafe13388_channels, test_cfg_rate_errors)
{
	zassert_equal(nafe13388_cfg_rate(NAFE1, 7, 1, 1), -EINVAL, "channel not set up");
	zassert_equal(nafe13388_cfg_rate(NAFE1, 16, 1, 1), -EINVAL, "channel 16");
	zassert_equal(nafe13388_cfg_rate(NAFE1, 0, NAFE13388_DATA_RATE_CODE_MAX + 1, 0), -EINVAL);
	zassert_equal(nafe13388_cfg_rate(NAFE1, 0, 0, NAFE13388_CHANNEL_DELAY_CODE_MAX + 1),
		      -EINVAL);
	zassert_equal(nafe_emul_frame_count(E1), 0);
}

/*
 * A setup that fails after CMD_CHn was sent leaves the device with a part of the new
 * configuration. The driver cannot know which part, so the channel must be set up again
 * before it is used: a read and cfg_rate() refuse it until then.
 */
ZTEST(nafe13388_channels, test_failed_setup_voids_channel)
{
	const struct nafe13388_channel_cfg cfg = {
		.hv_aip = 3,
		.hv_ain = 4,
		.gain_code = 3,
		.rate = 5,
	};
	int32_t buf[1];

	/* Channel 0 comes from the devicetree and is set up */
	zassert_equal(D1->ch[0][0], 0x1770);
	zassert_equal(D1->ch[0][1], 0x0000);

	/* Frames: CMD_CH0, CH_CONFIG0, CH_CONFIG1 (fails) */
	D1->fail_countdown = 3;
	zassert_equal(nafe13388_channel_setup_ext(NAFE1, 0, &cfg), -EIO);
	zassert_equal(D1->fail_countdown, 0);
	zassert_equal(nafe_emul_frame_count(E1), 3);

	/* The device holds CH_CONFIG0 of the new setup and CH_CONFIG1 of the old one */
	zassert_equal(D1->ch[0][0], 0x3470, "CH_CONFIG0 was written");
	zassert_equal(D1->ch[0][1], 0x0000, "CH_CONFIG1 was not written");

	/* The channel is not usable until it is set up again */
	zassert_equal(nafe13388_cfg_rate(NAFE1, 0, 1, 0), -EINVAL);
	zassert_equal(nafe_read(BIT(0), 24, buf, sizeof(buf), NULL), -EINVAL);

	/* Other channels are not affected */
	zassert_ok(nafe_read(BIT(1), 24, buf, sizeof(buf), NULL));

	/* A new setup brings the channel back */
	zassert_ok(nafe13388_channel_setup_ext(NAFE1, 0, &cfg));
	zassert_equal(D1->ch[0][1], 0x0028);
	zassert_ok(nafe_read(BIT(0), 24, buf, sizeof(buf), NULL));
}
```
